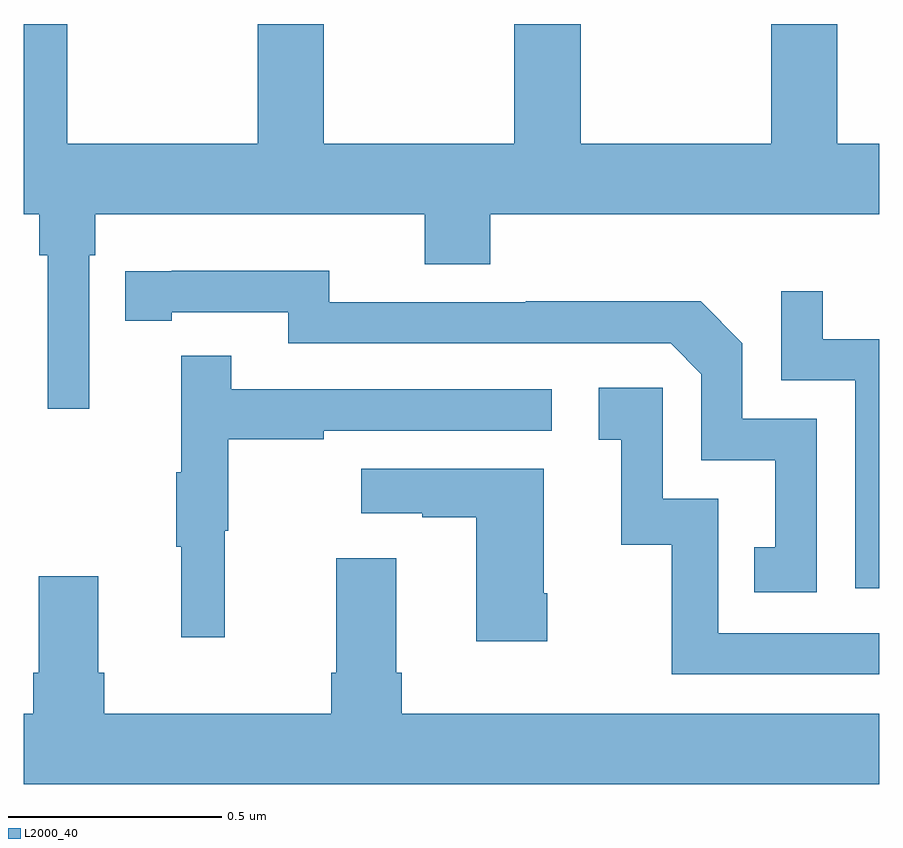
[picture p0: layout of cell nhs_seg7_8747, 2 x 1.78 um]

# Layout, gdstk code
import gdstk
lib = gdstk.Library(unit=1e-6, precision=1e-09)
def P(c, l, *ps):  # polygons
    for p in ps: c.add(gdstk.Polygon(p, *l))
L2000_40 = (2000, 40)

nhs_seg7_8747 = lib.new_cell('nhs_seg7_8747')
P(nhs_seg7_8747, L2000_40, [(230,1060.72),(229.902,1060.72),(229.902,1061),(229.747,1061),(229.747,1060.72),(229.302,1060.72),(229.302,1061),(229.147,1061),(229.147,1060.72),(228.702,1060.72),(228.702,1061),(228.547,1061),(228.547,1060.72),(228.102,1060.72),(228.102,1061),(228,1061),(228,1060.556),(228.037,1060.556),(228.037,1060.46),(228.056,1060.46),(228.056,1060.101),(228.153,1060.101),(228.153,1060.46),(228.167,1060.46),(228.167,1060.556),(228.938,1060.556),(228.938,1060.439),(229.091,1060.439),(229.091,1060.556),(230,1060.556)],
  [(229.854,1060.077),(229.68,1060.077),(229.68,1060.254),(229.582,1060.352),(229.174,1060.352),(229.174,1060.35),(228.714,1060.35),(228.714,1060.423),(228.346,1060.423),(228.346,1060.422),(228.238,1060.422),(228.238,1060.306),(228.346,1060.306),(228.346,1060.326),(228.618,1060.326),(228.618,1060.254),(229.512,1060.254),(229.584,1060.182),(229.584,1059.981),(229.757,1059.981),(229.757,1059.777),(229.708,1059.777),(229.708,1059.672),(229.854,1059.672)],
  [(230,1060.263),(229.867,1060.263),(229.867,1060.375),(229.77,1060.375),(229.77,1060.167),(229.944,1060.167),(229.944,1059.681),(230,1059.681)],
  [(228.47,1059.816),(228.478,1059.816),(228.478,1060.03),(228.701,1060.03),(228.701,1060.05),(229.234,1060.05),(229.234,1060.146),(228.485,1060.146),(228.485,1060.225),(228.368,1060.225),(228.368,1059.953),(228.357,1059.953),(228.357,1059.779),(228.368,1059.779),(228.368,1059.567),(228.47,1059.567)],
  [(230,1059.576),(229.623,1059.576),(229.623,1059.891),(229.494,1059.891),(229.494,1060.15),(229.344,1060.15),(229.344,1060.029),(229.397,1060.029),(229.397,1059.783),(229.515,1059.783),(229.515,1059.48),(230,1059.48)],
  [(229.224,1059.67),(229.216,1059.67),(229.216,1059.961),(228.789,1059.961),(228.789,1059.857),(228.932,1059.857),(228.932,1059.847),(229.058,1059.847),(229.058,1059.558),(229.224,1059.558)],
  [(230,1059.388),(228.884,1059.388),(228.884,1059.484),(228.871,1059.484),(228.871,1059.751),(228.731,1059.751),(228.731,1059.484),(228.719,1059.484),(228.719,1059.388),(228.188,1059.388),(228.188,1059.484),(228.175,1059.484),(228.175,1059.709),(228.035,1059.709),(228.035,1059.484),(228.023,1059.484),(228.023,1059.388),(228,1059.388),(228,1059.224),(230,1059.224)])

lib.write_gds('nhs_seg7_8747.gds')
